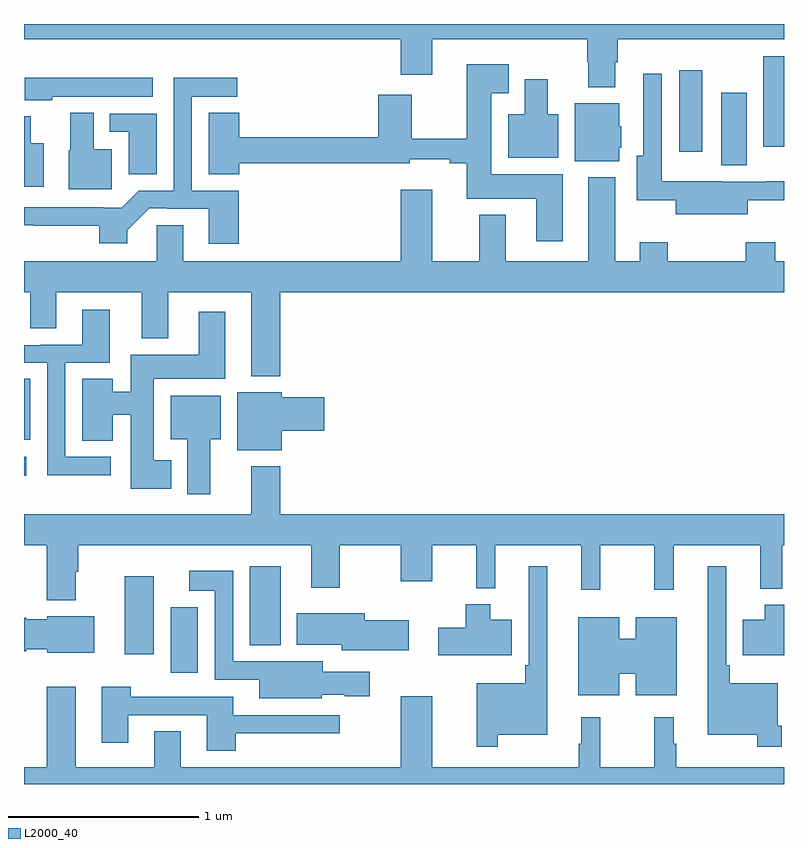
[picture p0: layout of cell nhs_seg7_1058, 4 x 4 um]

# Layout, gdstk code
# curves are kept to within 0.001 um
import gdstk
lib = gdstk.Library(unit=1e-6, precision=1e-09)
def R(c, l, rs):  # rectangles x0, y0, x1, y1
    for r in rs: c.add(gdstk.rectangle(r[:2], r[2:], *l))
def P(c, l, *ps):  # polygons
    for p in ps: c.add(gdstk.Polygon(p, *l))
L2000_40 = (2000, 40)

nhs_seg7_1058 = lib.new_cell('nhs_seg7_1058')
R(nhs_seg7_1058, L2000_40, [(187.772,1026.585,187.915,1026.931), (187.529,1026.684,187.684,1027.093), (188.189,1026.731,188.35,1027.147), (187,1027.622,187.012,1027.723), (187,1027.812,187.033,1028.132), (190.67,1029.257,190.804,1029.637), (190.448,1029.327,190.57,1029.757), (190.892,1029.353,191,1029.829)])
P(nhs_seg7_1058, L2000_40, [(190.111,1029.8),(190.124,1029.8),(190.124,1029.92),(191,1029.92),(191,1030),(187,1030),(187,1029.92),(188.984,1029.92),(188.984,1029.732),(189.148,1029.732),(189.148,1029.92),(189.964,1029.92),(189.964,1029.8),(189.971,1029.8),(189.971,1029.668),(190.111,1029.668)],
  [(189.835,1029.208),(189.46,1029.208),(189.46,1029.635),(189.55,1029.635),(189.55,1029.787),(189.331,1029.787),(189.331,1029.397),(189.042,1029.397),(189.042,1029.628),(188.864,1029.628),(188.864,1029.404),(188.134,1029.404),(188.134,1029.533),(187.973,1029.533),(187.973,1029.208),(188.134,1029.208),(188.134,1029.268),(189.03,1029.268),(189.03,1029.287),(189.242,1029.287),(189.242,1029.268),(189.331,1029.268),(189.331,1029.08),(189.695,1029.08),(189.695,1028.856),(189.835,1028.856)],
  [(190.81,1029.073),(191,1029.073),(191,1029.173),(190.906,1029.173),(190.906,1029.171),(190.674,1029.171),(190.674,1029.172),(190.356,1029.172),(190.356,1029.739),(190.26,1029.739),(190.26,1029.307),(190.226,1029.307),(190.226,1029.073),(190.43,1029.073),(190.43,1028.999),(190.81,1028.999)],
  [(187.149,1029.617),(187.678,1029.617),(187.678,1029.718),(187.005,1029.718),(187.005,1029.599),(187.149,1029.599)],
  [(188.129,1029.123),(187.884,1029.123),(187.884,1029.618),(188.122,1029.618),(188.122,1029.716),(187.788,1029.716),(187.788,1029.123),(187.604,1029.123),(187.514,1029.033),(187.418,1029.033),(187.418,1029.036),(187,1029.036),(187,1028.94),(187.396,1028.939),(187.396,1028.846),(187.543,1028.846),(187.543,1028.914),(187.659,1029.03),(187.753,1029.03),(187.753,1029.027),(187.973,1029.027),(187.973,1028.844),(188.129,1028.844)],
  [(189.811,1029.526),(189.757,1029.526),(189.757,1029.709),(189.635,1029.709),(189.635,1029.526),(189.548,1029.526),(189.548,1029.296),(189.811,1029.296)],
  [(190.132,1029.348),(190.144,1029.348),(190.144,1029.462),(190.132,1029.462),(190.132,1029.583),(189.899,1029.583),(189.899,1029.278),(190.132,1029.278)],
  [(187.462,1029.34),(187.366,1029.34),(187.366,1029.532),(187.244,1029.532),(187.244,1029.336),(187.235,1029.336),(187.235,1029.131),(187.462,1029.131)],
  [(187.699,1029.528),(187.452,1029.528),(187.452,1029.432),(187.55,1029.432),(187.55,1029.208),(187.699,1029.208)],
  [(187.105,1029.373),(187.036,1029.373),(187.036,1029.514),(187,1029.514),(187,1029.143),(187.105,1029.143)],
  [(188.348,1028.588),(191,1028.588),(191,1028.752),(190.953,1028.752),(190.953,1028.851),(190.798,1028.851),(190.798,1028.752),(190.389,1028.752),(190.389,1028.851),(190.241,1028.851),(190.241,1028.752),(190.111,1028.752),(190.111,1029.193),(189.971,1029.193),(189.971,1028.752),(189.535,1028.752),(189.535,1028.995),(189.395,1028.995),(189.395,1028.752),(189.148,1028.752),(189.148,1029.127),(188.984,1029.127),(188.984,1028.752),(187.837,1028.752),(187.837,1028.942),(187.698,1028.942),(187.698,1028.752),(187,1028.752),(187,1028.588),(187.032,1028.588),(187.032,1028.398),(187.171,1028.398),(187.171,1028.588),(187.619,1028.588),(187.619,1028.345),(187.759,1028.345),(187.759,1028.588),(188.195,1028.588),(188.195,1028.147),(188.348,1028.147)],
  [(187.456,1027.722),(187.218,1027.722),(187.218,1028.217),(187.45,1028.217),(187.45,1028.497),(187.307,1028.497),(187.307,1028.313),(187.087,1028.313),(187.087,1028.31),(187,1028.31),(187,1028.217),(187.122,1028.217),(187.122,1027.625),(187.456,1027.625)],
  [(187.774,1027.705),(187.684,1027.705),(187.684,1028.132),(188.059,1028.132),(188.059,1028.485),(187.919,1028.485),(187.919,1028.26),(187.562,1028.26),(187.562,1028.065),(187.468,1028.065),(187.468,1028.132),(187.307,1028.132),(187.307,1027.807),(187.468,1027.807),(187.468,1027.943),(187.562,1027.943),(187.562,1027.553),(187.774,1027.553)],
  [(188.356,1027.858),(188.581,1027.858),(188.581,1028.036),(188.356,1028.036),(188.356,1028.062),(188.123,1028.062),(188.123,1027.757),(188.356,1027.757)],
  [(187.981,1027.814),(188.035,1027.814),(188.035,1028.044),(187.772,1028.044),(187.772,1027.814),(187.859,1027.814),(187.859,1027.524),(187.981,1027.524)],
  [(187.273,1027.118),(187.286,1027.118),(187.286,1027.256),(188.513,1027.256),(188.513,1027.032),(188.661,1027.032),(188.661,1027.256),(188.984,1027.256),(188.984,1027.068),(189.148,1027.068),(189.148,1027.256),(189.379,1027.256),(189.379,1027.031),(189.479,1027.031),(189.479,1027.256),(189.932,1027.256),(189.932,1027.023),(190.034,1027.023),(190.034,1027.256),(190.318,1027.256),(190.318,1027.023),(190.421,1027.023),(190.421,1027.256),(190.874,1027.256),(190.874,1027.028),(190.991,1027.028),(190.991,1027.256),(191,1027.256),(191,1027.42),(188.348,1027.42),(188.348,1027.672),(188.195,1027.672),(188.195,1027.42),(187,1027.42),(187,1027.256),(187.121,1027.256),(187.121,1026.968),(187.273,1026.968)],
  [(190.988,1026.307),(190.968,1026.307),(190.968,1026.529),(190.715,1026.529),(190.715,1026.625),(190.695,1026.625),(190.695,1027.147),(190.598,1027.147),(190.598,1026.26),(190.86,1026.26),(190.86,1026.195),(190.988,1026.195)],
  [(189.493,1026.26),(189.754,1026.26),(189.754,1027.147),(189.657,1027.147),(189.657,1026.625),(189.637,1026.625),(189.637,1026.529),(189.384,1026.529),(189.384,1026.195),(189.493,1026.195)],
  [(188.568,1026.47),(188.688,1026.47),(188.688,1026.463),(188.821,1026.463),(188.821,1026.592),(188.572,1026.592),(188.572,1026.646),(188.346,1026.646),(188.346,1026.645),(188.1,1026.645),(188.1,1027.123),(187.869,1027.123),(187.869,1027.016),(188.004,1027.016),(188.004,1026.549),(188.237,1026.549),(188.237,1026.452),(188.568,1026.452)],
  [(189.568,1026.865),(189.454,1026.865),(189.454,1026.946),(189.325,1026.946),(189.325,1026.822),(189.18,1026.822),(189.18,1026.677),(189.568,1026.677)],
  [(191,1026.943),(190.898,1026.943),(190.898,1026.865),(190.784,1026.865),(190.784,1026.677),(191,1026.677)],
  [(189.025,1026.862),(188.794,1026.862),(188.794,1026.898),(188.435,1026.898),(188.435,1026.734),(188.672,1026.734),(188.672,1026.704),(189.025,1026.704)],
  [(187.369,1026.883),(187.122,1026.883),(187.122,1026.868),(187.011,1026.868),(187.011,1026.876),(187,1026.876),(187,1026.698),(187.011,1026.698),(187.011,1026.71),(187.122,1026.71),(187.122,1026.692),(187.369,1026.692)],
  [(190.132,1026.581),(190.22,1026.581),(190.22,1026.467),(190.435,1026.467),(190.435,1026.877),(190.22,1026.877),(190.22,1026.764),(190.132,1026.764),(190.132,1026.877),(189.917,1026.877),(189.917,1026.467),(190.132,1026.467)],
  [(191,1026.088),(190.432,1026.088),(190.432,1026.212),(190.42,1026.212),(190.42,1026.352),(190.318,1026.352),(190.318,1026.088),(190.034,1026.088),(190.034,1026.352),(189.932,1026.352),(189.932,1026.212),(189.921,1026.212),(189.921,1026.088),(189.148,1026.088),(189.148,1026.463),(188.984,1026.463),(188.984,1026.088),(187.825,1026.088),(187.825,1026.278),(187.685,1026.278),(187.685,1026.088),(187.273,1026.088),(187.273,1026.511),(187.121,1026.511),(187.121,1026.088),(187,1026.088),(187,1026),(191,1026)],
  [(188.114,1026.266),(188.662,1026.266),(188.662,1026.363),(188.101,1026.363),(188.101,1026.459),(187.562,1026.459),(187.562,1026.511),(187.409,1026.511),(187.409,1026.216),(187.549,1026.216),(187.549,1026.363),(187.961,1026.363),(187.961,1026.174),(188.114,1026.174)])

lib.write_gds('nhs_seg7_1058.gds')
